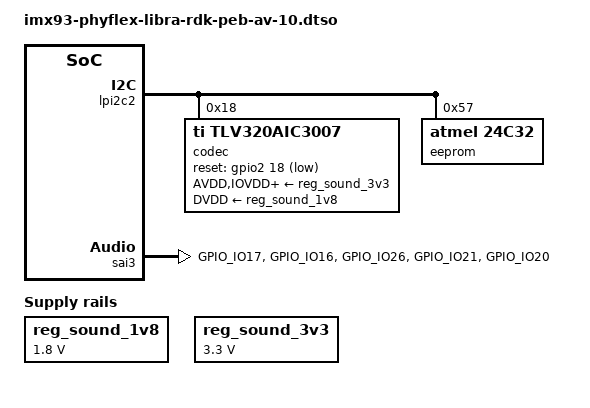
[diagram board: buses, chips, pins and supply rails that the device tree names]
// SPDX-License-Identifier: (GPL-2.0+ OR MIT)
/*
 * Copyright (C) 2026 PHYTEC Messtechnik GmbH
 * Author: Florijan Plohl <florijan.plohl@norik.com>
 */

#include <dt-bindings/clock/imx93-clock.h>
#include <dt-bindings/gpio/gpio.h>
#include "imx93-pinfunc.h"

/dts-v1/;
/plugin/;

&{/} {
	reg_sound_1v8: regulator-1v8 {
		compatible = "regulator-fixed";
		regulator-name = "VCC-1V8-AUDIO";
		regulator-max-microvolt = <1800000>;
		regulator-min-microvolt = <1800000>;
	};

	reg_sound_3v3: regulator-3v3 {
		compatible = "regulator-fixed";
		regulator-name = "VCC-3V3-AUDIO";
		regulator-max-microvolt = <3300000>;
		regulator-min-microvolt = <3300000>;
	};

	sound-peb-av-10 {
		compatible = "simple-audio-card";
		simple-audio-card,name = "snd-peb-av-10";
		simple-audio-card,format = "i2s";
		simple-audio-card,bitclock-master = <&dailink_master>;
		simple-audio-card,frame-master = <&dailink_master>;
		simple-audio-card,mclk-fs = <32>;
		simple-audio-card,widgets =
			"Line", "Line In",
			"Speaker", "Speaker",
			"Microphone", "Microphone Jack",
			"Headphone", "Headphone Jack";
		simple-audio-card,routing =
			"Speaker", "SPOP",
			"Speaker", "SPOM",
			"Headphone Jack", "HPLOUT",
			"Headphone Jack", "HPROUT",
			"LINE1L", "Line In",
			"LINE1R", "Line In",
			"MIC3R", "Microphone Jack",
			"Microphone Jack", "Mic Bias";

		simple-audio-card,cpu {
			sound-dai = <&sai3>;
		};

		dailink_master: simple-audio-card,codec {
			sound-dai = <&codec>;
			clocks = <&clk IMX93_CLK_SAI3>;
		};
	};
};

&lpi2c2 {
	#address-cells = <1>;
	#size-cells = <0>;

	codec: codec@18 {
		compatible = "ti,tlv320aic3007";
		reg = <0x18>;
		pinctrl-names = "default";
		pinctrl-0 = <&pinctrl_codec>;
		#sound-dai-cells = <0>;
		reset-gpios = <&gpio2 18 GPIO_ACTIVE_LOW>;
		ai3x-gpio-func = <0xd 0x0>;
		ai3x-micbias-vg = <2>;
		AVDD-supply = <&reg_sound_3v3>;
		IOVDD-supply = <&reg_sound_3v3>;
		DRVDD-supply = <&reg_sound_3v3>;
		DVDD-supply = <&reg_sound_1v8>;
	};

	eeprom@57 {
		compatible = "atmel,24c32";
		reg = <0x57>;
		pagesize = <32>;
	};
};

&sai3 {
	#sound-dai-cells = <0>;
	pinctrl-names = "default";
	pinctrl-0 = <&pinctrl_sai3>;
	assigned-clocks = <&clk IMX93_CLK_SAI3>;
	assigned-clock-parents = <&clk IMX93_CLK_AUDIO_PLL>;
	assigned-clock-rates = <19200000>;
	fsl,sai-mclk-direction-output;
	status = "okay";
};

&iomuxc {
	pinctrl_codec: codecgrp {
		fsl,pins = <
			MX93_PAD_GPIO_IO18__GPIO2_IO18		0x39e
		>;
	};

	pinctrl_sai3: sai3grp {
		fsl,pins = <
			MX93_PAD_GPIO_IO17__SAI3_MCLK		0x1202
			MX93_PAD_GPIO_IO16__SAI3_TX_BCLK	0x1202
			MX93_PAD_GPIO_IO26__SAI3_TX_SYNC	0x1202
			MX93_PAD_GPIO_IO21__SAI3_TX_DATA00	0x1402
			MX93_PAD_GPIO_IO20__SAI3_RX_DATA00	0x1002
		>;
	};
};
